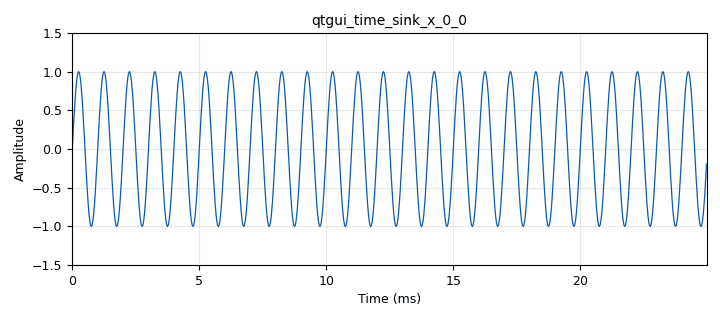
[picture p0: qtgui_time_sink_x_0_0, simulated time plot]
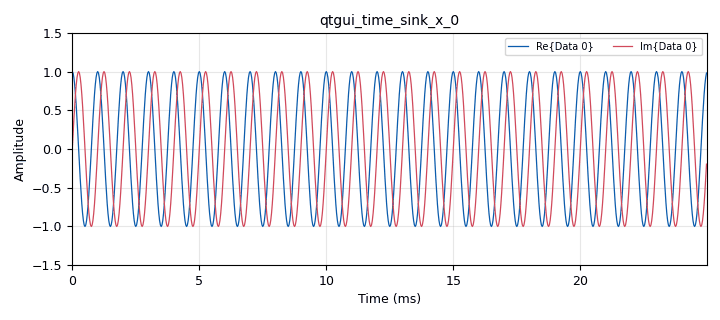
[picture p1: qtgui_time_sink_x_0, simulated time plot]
<?xml version='1.0' encoding='utf-8'?>
<?grc format='1' created='3.7.7'?>
<flow_graph>
<block>
<key>options</key>
<param><key>id</key><value>analog_sig_source</value></param>
<param><key>generate_options</key><value>qt_gui</value></param>
<param><key>category</key><value>Custom</value></param>
<param><key>run_options</key><value>run</value></param>
</block>
<block>
<key>variable</key>
<param><key>id</key><value>samp_rate</value></param>
<param><key>value</key><value>32000</value></param>
</block>
<block>
<key>blocks_throttle</key>
<param><key>id</key><value>blocks_throttle_0</value></param>
<param><key>type</key><value>complex</value></param>
<param><key>samples_per_second</key><value>samp_rate</value></param>
</block>
<block>
<key>blocks_throttle</key>
<param><key>id</key><value>blocks_throttle_0_0</value></param>
<param><key>type</key><value>float</value></param>
<param><key>samples_per_second</key><value>samp_rate</value></param>
</block>
<block>
<key>variable_qtgui_range</key>
<param><key>id</key><value>amp</value></param>
<param><key>label</key><value>Amplitude</value></param>
<param><key>value</key><value>1</value></param>
<param><key>start</key><value>0</value></param>
<param><key>stop</key><value>2</value></param>
<param><key>step</key><value>0.1</value></param>
<param><key>orient</key><value>Qt.Horizontal</value></param>
<param><key>gui_hint</key><value>0,0,1,1</value></param>
</block>
<block>
<key>analog_sig_source_x</key>
<param><key>id</key><value>analog_sig_source_x_0</value></param>
<param><key>type</key><value>complex</value></param>
<param><key>samp_rate</key><value>samp_rate</value></param>
<param><key>waveform</key><value>sigtype</value></param>
<param><key>freq</key><value>freq</value></param>
<param><key>amp</key><value>amp</value></param>
<param><key>offset</key><value>offset</value></param>
</block>
<block>
<key>analog_sig_source_x</key>
<param><key>id</key><value>analog_sig_source_x_0_0</value></param>
<param><key>type</key><value>float</value></param>
<param><key>samp_rate</key><value>samp_rate</value></param>
<param><key>waveform</key><value>sigtype</value></param>
<param><key>freq</key><value>freq</value></param>
<param><key>amp</key><value>amp</value></param>
<param><key>offset</key><value>offset</value></param>
</block>
<block>
<key>variable_qtgui_range</key>
<param><key>id</key><value>freq</value></param>
<param><key>label</key><value>Frequency</value></param>
<param><key>value</key><value>1000</value></param>
<param><key>start</key><value>0</value></param>
<param><key>stop</key><value>samp_rate</value></param>
<param><key>step</key><value>100</value></param>
<param><key>orient</key><value>Qt.Horizontal</value></param>
<param><key>gui_hint</key><value>0,1,1,1</value></param>
</block>
<block>
<key>variable_qtgui_range</key>
<param><key>id</key><value>offset</value></param>
<param><key>label</key><value>Offset</value></param>
<param><key>value</key><value>0</value></param>
<param><key>start</key><value>-1</value></param>
<param><key>stop</key><value>1</value></param>
<param><key>step</key><value>0.1</value></param>
<param><key>orient</key><value>Qt.Horizontal</value></param>
<param><key>gui_hint</key><value>0,2,1,1</value></param>
</block>
<block>
<key>variable_qtgui_chooser</key>
<param><key>id</key><value>sigtype</value></param>
<param><key>label</key><value>Signal Type</value></param>
<param><key>type</key><value>int</value></param>
<param><key>num_opts</key><value>4</value></param>
<param><key>value</key><value>analog.GR_SIN_WAVE</value></param>
<param><key>option0</key><value>analog.GR_SIN_WAVE</value></param>
<param><key>label0</key><value>Sine Wave</value></param>
<param><key>option1</key><value>analog.GR_SQR_WAVE</value></param>
<param><key>label1</key><value>Square Wave</value></param>
<param><key>option2</key><value>analog.GR_TRI_WAVE</value></param>
<param><key>label2</key><value>Triangle Wave</value></param>
<param><key>option3</key><value>analog.GR_SAW_WAVE</value></param>
<param><key>label3</key><value>Sawtooth</value></param>
<param><key>gui_hint</key><value>0,3,1,1</value></param>
</block>
<block>
<key>qtgui_time_sink_x</key>
<param><key>id</key><value>qtgui_time_sink_x_0_0</value></param>
<param><key>type</key><value>float</value></param>
<param><key>size</key><value>800</value></param>
<param><key>srate</key><value>samp_rate</value></param>
<param><key>ymin</key><value>-1.5</value></param>
<param><key>ymax</key><value>1.5</value></param>
<param><key>update_time</key><value>0.01</value></param>
<param><key>gui_hint</key><value>2,0,1,4</value></param>
<param><key>label1</key><value></value></param>
<param><key>color1</key><value>"blue"</value></param>
</block>
<block>
<key>qtgui_time_sink_x</key>
<param><key>id</key><value>qtgui_time_sink_x_0</value></param>
<param><key>type</key><value>complex</value></param>
<param><key>size</key><value>800</value></param>
<param><key>srate</key><value>samp_rate</value></param>
<param><key>ymin</key><value>-1.5</value></param>
<param><key>ymax</key><value>1.5</value></param>
<param><key>update_time</key><value>0.01</value></param>
<param><key>gui_hint</key><value>1,0,1,4</value></param>
<param><key>label1</key><value></value></param>
<param><key>color1</key><value>"blue"</value></param>
<param><key>label2</key><value></value></param>
<param><key>color2</key><value>"red"</value></param>
</block>
<connection><source_block_id>analog_sig_source_x_0</source_block_id><sink_block_id>blocks_throttle_0</sink_block_id><source_key>0</source_key><sink_key>0</sink_key></connection>
<connection><source_block_id>analog_sig_source_x_0_0</source_block_id><sink_block_id>blocks_throttle_0_0</sink_block_id><source_key>0</source_key><sink_key>0</sink_key></connection>
<connection><source_block_id>blocks_throttle_0</source_block_id><sink_block_id>qtgui_time_sink_x_0</sink_block_id><source_key>0</source_key><sink_key>0</sink_key></connection>
<connection><source_block_id>blocks_throttle_0_0</source_block_id><sink_block_id>qtgui_time_sink_x_0_0</sink_block_id><source_key>0</source_key><sink_key>0</sink_key></connection>
</flow_graph>
